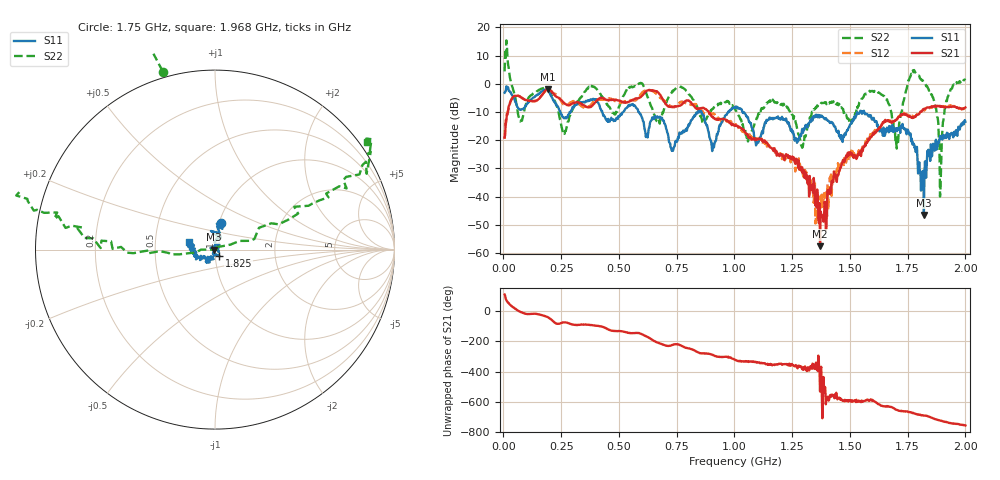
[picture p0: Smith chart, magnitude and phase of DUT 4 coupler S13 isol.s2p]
! PocketVna 1.60  pocketvna.com
! Live measurements ((Reflection-S11, Transmission-S21, Transmission-S12, Reflection-S22) Linear 5000000-2000000000/800 calibrated)
# Hz S RI R 50
! Hz  ReS11  ImS11  ReS21  ImS21  ReS12  ImS12  ReS22  ImS22
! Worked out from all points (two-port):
!   800 points, 5 MHz to 2 GHz, reference 50 ohm
!   highest |S21| = -1.89 dB at 192.3 MHz (marker M1); lowest = -57.6 dB at 1.371 GHz (marker M2)
!   |S21| within 3 dB of the highest: 158.8 MHz to 236.4 MHz (77.54 MHz wide, 39.2 % of centre); 590.4 MHz to 685.7 MHz (95.24 MHz wide, 14.9 % of centre)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
!   lowest |S11| = -46.5 dB at 1.82 GHz (marker M3), VSWR 1.01, Z = 49.5 + j0.0184 ohm
!   |S11| at or under -10 dB: 584.2 MHz to 843.5 MHz (259.2 MHz wide, 36.3 % of centre); 1.035 GHz to 1.544 GHz (509 MHz wide, 39.5 % of centre); 1.562 GHz to end of sweep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
!   |S22| runs from -40.0 to 15.4 dB; largest |S21 - S12| = 0.09
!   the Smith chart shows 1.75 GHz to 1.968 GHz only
!   S11 on the Smith chart (normalised r, x): 1.75 GHz: 1.02, +0.31; 1.825 GHz: 1.05, -0.07; 1.968 GHz: 0.74, +0.07
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5000000  0.6815 -0.1312  -0.0398 0.1048  0.0457 0.0945  1.635 0.2452
2.24781e7  0.2024 -0.7275  0.231 0.3213  0.2232 0.3035  -0.1311 -1.954
2.996871e7  -0.0786 -0.7161  0.3618 0.3061  0.3645 0.309  -0.2404 -1.154
9.488736e7  -0.3572 0.1928  0.4975 -0.1467  0.5043 -0.1474  -0.2721 0.2892
1.922653e8  -0.6664 0.3336  0.6222 -0.5101  0.6054 -0.4774  -0.7704 0.1815
2.621777e8  -0.0153 0.2434  0.1284 -0.4408  0.1043 -0.4129  -0.0621 0.1213
3.395807e8  -0.1098 0.4527  0.0103 -0.4287  0.0153 -0.397  -0.1959 0.5622
5.967584e8  0.224 0.1459  -0.5183 -0.2968  -0.5979 -0.2976  0.4803 0.9017
6.716646e8  -0.1748 -0.1814  -0.5962 0.3478  -0.5161 0.3071  0.1785 0.111
7.590551e8  0.1009 0.0399  -0.3085 0.2631  -0.2943 0.3278  0.8692 -0.1363
1.003748e9  0.3611 0.1326  0.1415 0.11  0.1295 0.1289  0.2957 -0.1946
1.335832e9  -0.141 -0.2055  0.0151 -0.00581  0.0127 -0.00396  -0.3099 0.0723
1.370788e9  -0.1294 -0.2451  -0.00131 -0.000174  0.00561 -0.00226  -0.3785 -0.2406
1.667916e9  0.000535 0.1378  0.00508 0.223  0.00805 0.2184  -0.3048 -0.313
1.700375e9  0.0414 0.1571  0.0881 0.2102  0.0887 0.2129  -0.0912 -0.0157
1.750313e9  0.0314 0.1501  0.1603 0.2209  0.1583 0.2259  -0.2908 0.9922
1.782772e9  0.0171 0.0747  0.2018 0.1687  0.2156 0.1562  -1.367 0.8157
1.820225e9  -0.00471 0.000186  0.3175 0.1668  0.3052 0.1597  -1.043 0.2693
1.825219e9  0.0244 -0.0343  0.3211 0.1676  0.324 0.1556  -0.9919 0.2216
1.892635e9  -0.1047 -0.0492  0.3894 -0.0405  0.3949 -0.0325  -0.00428 0.0152
1.967541e9  -0.1474 0.0432  0.3298 -0.1732  0.3192 -0.2089  0.8476 0.6013
2e9  -0.2019 0.0654  0.3012 -0.2314  0.2861 -0.2501  0.8007 0.8373
